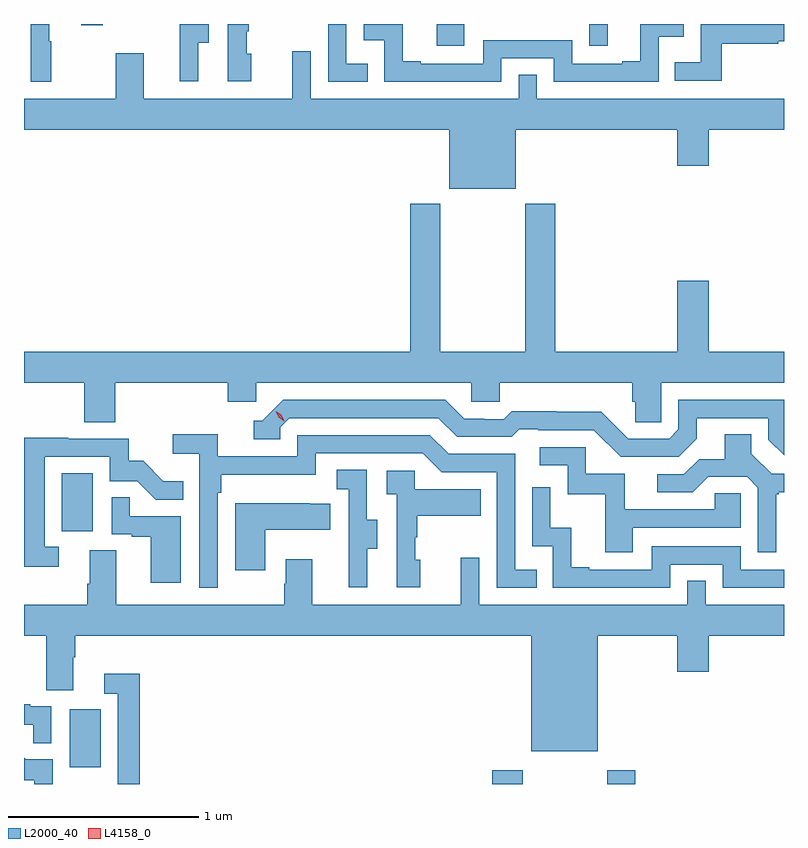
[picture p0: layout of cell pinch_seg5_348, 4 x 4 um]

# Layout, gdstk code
import gdstk
lib = gdstk.Library(unit=1e-6, precision=1e-09)
def R(c, l, rs):  # rectangles x0, y0, x1, y1
    for r in rs: c.add(gdstk.rectangle(r[:2], r[2:], *l))
def P(c, l, *ps):  # polygons
    for p in ps: c.add(gdstk.Polygon(p, *l))
L2000_40 = (2000, 40)
L4158_0 = (4158, 0)

pinch_seg5_348 = lib.new_cell('pinch_seg5_348')
R(pinch_seg5_348, L2000_40, [(955.241,877.293,955.401,877.366), (955.846,877.293,955.993,877.366), (953.018,877.38,953.182,877.687), (952.976,878.622,953.14,878.929), (954.949,881.178,955.093,881.293), (955.752,881.178,955.849,881.293), (953.079,881.287,953.191,881.293)])
P(pinch_seg5_348, L2000_40, [(954.587,881.085),(954.474,881.085),(954.474,881.293),(954.378,881.293),(954.378,880.989),(954.587,880.989)],
  [(956.449,881.19),(956.747,881.19),(956.747,881.201),(956.777,881.201),(956.777,881.293),(956.338,881.293),(956.338,881.092),(956.203,881.092),(956.203,880.995),(956.449,880.995)],
  [(952.921,881.201),(952.909,881.201),(952.909,881.293),(952.812,881.293),(952.812,880.989),(952.921,880.989)],
  [(955.29,881.112),(955.566,881.112),(955.566,880.989),(956.118,880.989),(956.118,881.225),(956.25,881.225),(956.25,881.293),(956.021,881.293),(956.021,881.098),(955.925,881.098),(955.925,881.085),(955.662,881.085),(955.662,881.208),(955.194,881.208),(955.194,881.085),(954.865,881.085),(954.865,881.098),(954.77,881.098),(954.77,881.293),(954.564,881.293),(954.564,881.208),(954.672,881.208),(954.672,880.989),(955.29,880.989)],
  [(953.695,881.194),(953.749,881.194),(953.749,881.293),(953.598,881.293),(953.598,881.205),(953.597,881.205),(953.597,880.992),(953.695,880.992)],
  [(953.974,881.136),(953.949,881.136),(953.949,881.255),(953.959,881.255),(953.959,881.293),(953.85,881.293),(953.85,880.992),(953.974,880.992)],
  [(955.366,880.736),(956.216,880.736),(956.216,880.548),(956.38,880.548),(956.38,880.736),(956.777,880.736),(956.777,880.9),(955.476,880.9),(955.476,881.027),(955.38,881.027),(955.38,880.9),(954.285,880.9),(954.285,881.149),(954.188,881.149),(954.188,880.9),(953.407,880.9),(953.407,881.14),(953.26,881.14),(953.26,880.9),(952.777,880.9),(952.777,880.736),(955.016,880.736),(955.016,880.427),(955.366,880.427)],
  [(953.258,879.404),(953.849,879.404),(953.849,879.306),(954,879.306),(954,879.404),(955.131,879.404),(955.131,879.306),(955.281,879.306),(955.281,879.404),(955.979,879.404),(955.979,879.306),(955.993,879.306),(955.993,879.196),(956.13,879.196),(956.13,879.404),(956.777,879.404),(956.777,879.568),(956.38,879.568),(956.38,879.943),(956.216,879.943),(956.216,879.568),(955.574,879.568),(955.574,880.348),(955.414,880.348),(955.414,879.568),(954.969,879.568),(954.969,880.348),(954.809,880.348),(954.809,879.568),(952.777,879.568),(952.777,879.404),(953.093,879.404),(953.093,879.196),(953.258,879.196)],
  [(956.317,879.109),(956.317,879.219),(956.694,879.219),(956.694,879.105),(956.777,879.022),(956.777,879.315),(956.22,879.315),(956.22,879.159),(956.172,879.111),(955.956,879.111),(955.814,879.253),(955.578,879.253),(955.578,879.256),(955.345,879.256),(955.303,879.213),(955.2,879.213),(955.2,879.216),(955.093,879.216),(954.994,879.315),(954.141,879.315),(954.03,879.204),(953.987,879.204),(953.987,879.108),(954.126,879.108),(954.126,879.171),(954.174,879.219),(954.957,879.219),(955.056,879.12),(955.345,879.12),(955.384,879.159),(955.483,879.159),(955.483,879.156),(955.776,879.156),(955.917,879.015),(956.223,879.015)],
  [(956.737,878.817),(956.749,878.817),(956.749,878.828),(956.777,878.828),(956.777,878.925),(956.712,878.925),(956.605,879.032),(956.605,879.134),(956.465,879.134),(956.465,879.002),(956.33,879.002),(956.25,878.922),(956.109,878.922),(956.109,878.829),(956.296,878.829),(956.377,878.91),(956.583,878.91),(956.64,878.853),(956.64,878.514),(956.737,878.514)],
  [(953.796,878.825),(953.816,878.825),(953.816,878.921),(954.312,878.921),(954.312,879.033),(954.876,879.033),(954.975,878.934),(955.266,878.934),(955.266,878.325),(955.475,878.325),(955.475,878.421),(955.362,878.421),(955.362,879.03),(955.012,879.03),(954.913,879.129),(954.216,879.129),(954.216,879.018),(953.798,879.018),(953.798,879.134),(953.559,879.134),(953.559,879.032),(953.7,879.032),(953.7,878.325),(953.796,878.325)],
  [(952.96,878.541),(952.887,878.541),(952.887,879.015),(953.229,879.015),(953.229,878.886),(953.373,878.886),(953.471,878.788),(953.615,878.788),(953.615,878.887),(953.511,878.887),(953.404,878.994),(953.328,878.994),(953.328,879.111),(953.009,879.111),(953.009,879.116),(952.777,879.116),(952.777,878.436),(952.96,878.436)],
  [(955.981,878.643),(956.55,878.643),(956.55,878.823),(956.413,878.823),(956.413,878.739),(955.939,878.739),(955.939,878.925),(955.734,878.925),(955.734,879.066),(955.491,879.066),(955.491,878.97),(955.638,878.97),(955.638,878.817),(955.837,878.817),(955.837,878.514),(955.981,878.514)],
  [(954.583,878.53),(954.637,878.53),(954.637,878.685),(954.582,878.685),(954.582,878.948),(954.423,878.948),(954.423,878.845),(954.486,878.845),(954.486,878.541),(954.485,878.541),(954.485,878.328),(954.583,878.328)],
  [(954.862,878.472),(954.837,878.472),(954.837,878.591),(954.847,878.591),(954.847,878.705),(955.181,878.705),(955.181,878.845),(954.834,878.845),(954.834,878.943),(954.687,878.943),(954.687,878.819),(954.738,878.819),(954.738,878.328),(954.862,878.328)],
  [(956.178,878.448),(956.454,878.448),(956.454,878.325),(956.777,878.325),(956.777,878.421),(956.55,878.421),(956.55,878.544),(956.082,878.544),(956.082,878.421),(955.753,878.421),(955.753,878.434),(955.658,878.434),(955.658,878.642),(955.548,878.642),(955.548,878.854),(955.452,878.854),(955.452,878.544),(955.56,878.544),(955.56,878.325),(956.178,878.325)],
  [(953.602,878.703),(953.333,878.703),(953.333,878.801),(953.238,878.801),(953.238,878.607),(953.345,878.607),(953.345,878.595),(953.444,878.595),(953.444,878.352),(953.602,878.352)],
  [(954.046,878.63),(954.389,878.63),(954.389,878.767),(954.281,878.767),(954.281,878.77),(953.888,878.77),(953.888,878.418),(954.046,878.418)],
  [(955.798,878.072),(956.216,878.072),(956.216,877.884),(956.38,877.884),(956.38,878.072),(956.777,878.072),(956.777,878.236),(956.364,878.236),(956.364,878.363),(956.268,878.363),(956.268,878.236),(955.173,878.236),(955.173,878.485),(955.076,878.485),(955.076,878.236),(954.295,878.236),(954.295,878.476),(954.155,878.476),(954.155,878.348),(954.148,878.348),(954.148,878.236),(953.263,878.236),(953.263,878.522),(953.123,878.522),(953.123,878.348),(953.111,878.348),(953.111,878.236),(952.777,878.236),(952.777,878.072),(952.895,878.072),(952.895,877.786),(953.035,877.786),(953.035,877.96),(953.048,877.96),(953.048,878.072),(955.448,878.072),(955.448,877.466),(955.798,877.466)],
  [(953.387,877.873),(953.199,877.873),(953.199,877.767),(953.271,877.767),(953.271,877.293),(953.387,877.293)],
  [(952.92,877.701),(952.809,877.701),(952.809,877.714),(952.777,877.714),(952.777,877.605),(952.825,877.605),(952.825,877.507),(952.92,877.507)],
  [(952.785,877.422),(952.777,877.43),(952.777,877.314),(952.831,877.314),(952.831,877.293),(952.929,877.293),(952.929,877.422)])
P(pinch_seg5_348, L4158_0, [(954.148,879.203),(954.117,879.223),(954.102,879.256),(954.102,879.256),(954.102,879.256),(954.132,879.236),(954.148,879.203),(954.148,879.203)])

lib.write_gds('pinch_seg5_348.gds')
